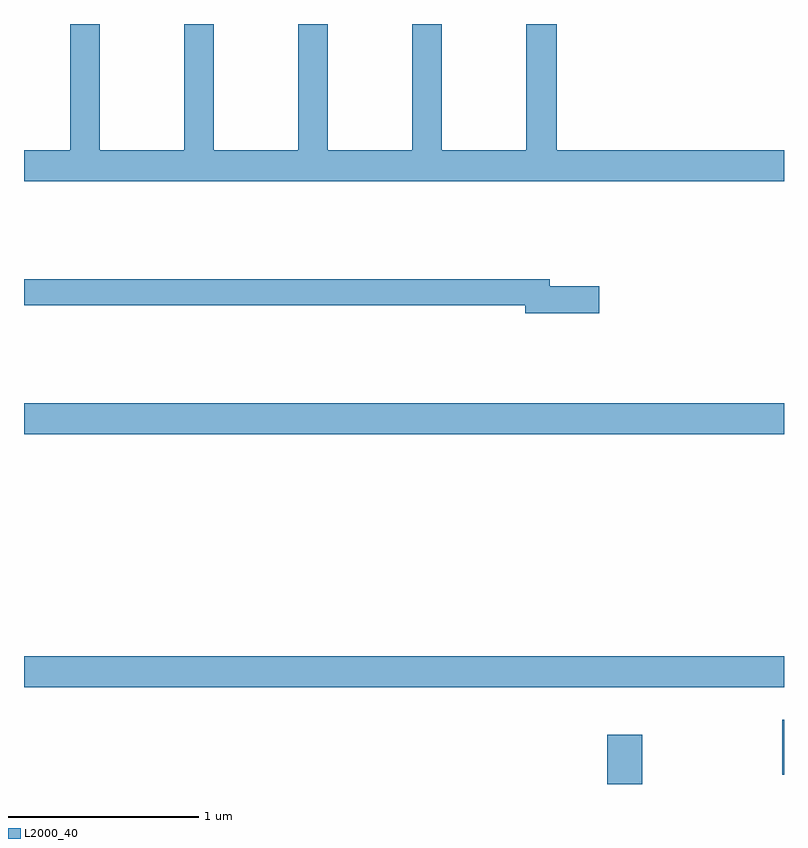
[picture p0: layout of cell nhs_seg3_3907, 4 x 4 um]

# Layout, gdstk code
import gdstk
lib = gdstk.Library(unit=1e-6, precision=1e-09)
def R(c, l, rs):  # rectangles x0, y0, x1, y1
    for r in rs: c.add(gdstk.rectangle(r[:2], r[2:], *l))
def P(c, l, *ps):  # polygons
    for p in ps: c.add(gdstk.Polygon(p, *l))
L2000_40 = (2000, 40)

nhs_seg3_3907 = lib.new_cell('nhs_seg3_3907')
R(nhs_seg3_3907, L2000_40, [(316.07,708.4,316.253,708.658), (316.991,708.449,317,708.739), (313,708.908,317,709.072), (313,710.24,317,710.404)])
P(nhs_seg3_3907, L2000_40, [(317,711.736),(315.803,711.736),(315.803,712.4),(315.643,712.4),(315.643,711.736),(315.198,711.736),(315.198,712.4),(315.043,712.4),(315.043,711.736),(314.598,711.736),(314.598,712.4),(314.443,712.4),(314.443,711.736),(313.998,711.736),(313.998,712.4),(313.843,712.4),(313.843,711.736),(313.398,711.736),(313.398,712.4),(313.243,712.4),(313.243,711.736),(313,711.736),(313,711.572),(317,711.572)],
  [(316.027,711.02),(315.766,711.02),(315.766,711.056),(313,711.056),(313,710.92),(315.638,710.92),(315.638,710.878),(316.027,710.878)])

lib.write_gds('nhs_seg3_3907.gds')
